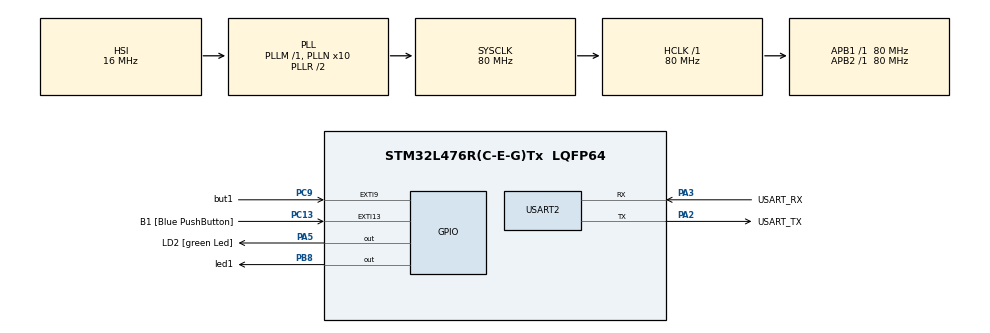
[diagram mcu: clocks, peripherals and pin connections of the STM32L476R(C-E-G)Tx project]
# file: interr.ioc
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Mcu.Family=STM32L4
Mcu.Name=STM32L476R(C-E-G)Tx
Mcu.Package=LQFP64
NVIC.EXTI15_10_IRQn=true\:0\:0\:false\:false\:true\:true\:true\:true
NVIC.EXTI9_5_IRQn=true\:0\:0\:false\:false\:true\:true\:true\:true
NVIC.PriorityGroup=NVIC_PRIORITYGROUP_4
PA13\ (JTMS-SWDIO).GPIO_Label=TMS
PA13\ (JTMS-SWDIO).Mode=Serial_Wire
PA13\ (JTMS-SWDIO).Signal=SYS_JTMS-SWDIO
PA14\ (JTCK-SWCLK).GPIO_Label=TCK
PA14\ (JTCK-SWCLK).Mode=Serial_Wire
PA14\ (JTCK-SWCLK).Signal=SYS_JTCK-SWCLK
PA2.GPIO_Label=USART_TX
PA2.GPIO_Mode=GPIO_MODE_AF_PP
PA2.GPIO_PuPd=GPIO_NOPULL
PA2.GPIO_Speed=GPIO_SPEED_FREQ_VERY_HIGH
PA2.Mode=Asynchronous
PA2.Signal=USART2_TX
PA3.GPIO_Label=USART_RX
PA3.GPIO_Mode=GPIO_MODE_AF_PP
PA3.GPIO_PuPd=GPIO_NOPULL
PA3.GPIO_Speed=GPIO_SPEED_FREQ_VERY_HIGH
PA3.Mode=Asynchronous
PA3.Signal=USART2_RX
PA5.GPIO_Label=LD2 [green Led]
PA5.GPIO_ModeDefaultOutputPP=GPIO_MODE_OUTPUT_PP
PA5.GPIO_PuPd=GPIO_NOPULL
PA5.GPIO_Speed=GPIO_SPEED_FREQ_LOW
PA5.Signal=GPIO_Output
PB3\ (JTDO-TRACESWO).GPIO_Label=SWO
PB3\ (JTDO-TRACESWO).Signal=SYS_JTDO-SWO
PB8.GPIO_Label=led1
PB8.Signal=GPIO_Output
PC13.GPIO_Label=B1 [Blue PushButton]
PC13.GPIO_ModeDefaultEXTI=GPIO_MODE_IT_FALLING
PC13.GPIO_PuPd=GPIO_NOPULL
PC13.Signal=GPXTI13
PC14-OSC32_IN\ (PC14).Mode=LSE-External-Oscillator
PC14-OSC32_IN\ (PC14).Signal=RCC_OSC32_IN
PC15-OSC32_OUT\ (PC15).Mode=LSE-External-Oscillator
PC15-OSC32_OUT\ (PC15).Signal=RCC_OSC32_OUT
PC9.GPIO_Label=but1
PC9.GPIO_ModeDefaultEXTI=GPIO_MODE_IT_FALLING
PC9.GPIO_PuPd=GPIO_PULLUP
PC9.Signal=GPXTI9
PH0-OSC_IN\ (PH0).Signal=RCC_OSC_IN
PH1-OSC_OUT\ (PH1).Signal=RCC_OSC_OUT
ProjectManager.HeapSize=0x200
ProjectManager.StackSize=0x400
ProjectManager.TargetToolchain=STM32CubeIDE
RCC.ADCFreq_Value=64000000
RCC.AHBFreq_Value=80000000
RCC.APB1Freq_Value=80000000
RCC.APB1TimFreq_Value=80000000
RCC.APB2Freq_Value=80000000
RCC.APB2TimFreq_Value=80000000
RCC.CortexFreq_Value=80000000
RCC.HCLKFreq_Value=80000000
RCC.HSE_VALUE=8000000
RCC.HSI_VALUE=16000000
RCC.MSI_VALUE=4000000
RCC.PLLN=10
RCC.PLLSourceVirtual=RCC_PLLSOURCE_HSI
RCC.PREFETCH_ENABLE=1
RCC.SYSCLKFreq_VALUE=80000000
RCC.SYSCLKSource=RCC_SYSCLKSOURCE_PLLCLK
RCC.USBFreq_Value=64000000
RCC.VCOOutputFreq_Value=160000000
USART2.VirtualMode-Asynchronous=VM_ASYNC
board=NUCLEO-L476RG

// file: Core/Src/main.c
/* USER CODE BEGIN Header */
/**
  ******************************************************************************
  * @file           : main.c
  * @brief          : Main program body
  ******************************************************************************
  * @attention
  *
  * Copyright (c) 2024 STMicroelectronics.
  * All rights reserved.
  *
  * This software is licensed under terms that can be found in the LICENSE file
  * in the root directory of this software component.
  * If no LICENSE file comes with this software, it is provided AS-IS.
  *
  ******************************************************************************
  */
/* USER CODE END Header */
#include "main.h"
#include "usart.h"
#include "gpio.h"

void SystemClock_Config(void);

/* USER CODE BEGIN 0 */
volatile uint8_t interState = 0;

/* USER CODE END 0 */

int main(void)
{

  /* MCU Configuration--------------------------------------------------------*/

  /* Reset of all peripherals, Initializes the Flash interface and the Systick. */
  HAL_Init();

  /* Configure the system clock */
  SystemClock_Config();

  /* Initialize all configured peripherals */
  MX_GPIO_Init();
  MX_USART2_UART_Init();

  /* Infinite loop */
  /* USER CODE BEGIN WHILE */
  while (1)
  {
	  if(interState==0){
		  HAL_Delay(100);
		  HAL_GPIO_TogglePin(led1_GPIO_Port, led1_Pin);
		  HAL_Delay(100);
	  }
	  else if(interState==1){
		  HAL_Delay(200);
		  HAL_GPIO_TogglePin(led1_GPIO_Port, led1_Pin);
		  HAL_Delay(200);
	  }
	  else if(interState==2){
		  HAL_Delay(500);
		  HAL_GPIO_TogglePin(led1_GPIO_Port, led1_Pin);
		  HAL_Delay(500);
	  }
	  else if(interState==3){
		  HAL_Delay(1000);
		  HAL_GPIO_TogglePin(led1_GPIO_Port, led1_Pin);
		  HAL_Delay(1000);
	  }
	  else{
		  HAL_Delay(2000);
		  HAL_GPIO_TogglePin(led1_GPIO_Port, led1_Pin);
		  HAL_Delay(2000);
	  }

    /* USER CODE END WHILE */

  }
}

void SystemClock_Config(void)
{
  RCC_OscInitTypeDef RCC_OscInitStruct = {0};
  RCC_ClkInitTypeDef RCC_ClkInitStruct = {0};

  /** Configure the main internal regulator output voltage
  */
  if (HAL_PWREx_ControlVoltageScaling(PWR_REGULATOR_VOLTAGE_SCALE1) != HAL_OK)
  {
    Error_Handler();
  }

  /** Initializes the RCC Oscillators according to the specified parameters
  * in the RCC_OscInitTypeDef structure.
  */
  RCC_OscInitStruct.OscillatorType = RCC_OSCILLATORTYPE_HSI;
  RCC_OscInitStruct.HSIState = RCC_HSI_ON;
  RCC_OscInitStruct.HSICalibrationValue = RCC_HSICALIBRATION_DEFAULT;
  RCC_OscInitStruct.PLL.PLLState = RCC_PLL_ON;
  RCC_OscInitStruct.PLL.PLLSource = RCC_PLLSOURCE_HSI;
  RCC_OscInitStruct.PLL.PLLM = 1;
  RCC_OscInitStruct.PLL.PLLN = 10;
  RCC_OscInitStruct.PLL.PLLP = RCC_PLLP_DIV7;
  RCC_OscInitStruct.PLL.PLLQ = RCC_PLLQ_DIV2;
  RCC_OscInitStruct.PLL.PLLR = RCC_PLLR_DIV2;
  if (HAL_RCC_OscConfig(&RCC_OscInitStruct) != HAL_OK)
  {
    Error_Handler();
  }

  /** Initializes the CPU, AHB and APB buses clocks
  */
  RCC_ClkInitStruct.ClockType = RCC_CLOCKTYPE_HCLK|RCC_CLOCKTYPE_SYSCLK
                              |RCC_CLOCKTYPE_PCLK1|RCC_CLOCKTYPE_PCLK2;
  RCC_ClkInitStruct.SYSCLKSource = RCC_SYSCLKSOURCE_PLLCLK;
  RCC_ClkInitStruct.AHBCLKDivider = RCC_SYSCLK_DIV1;
  RCC_ClkInitStruct.APB1CLKDivider = RCC_HCLK_DIV1;
  RCC_ClkInitStruct.APB2CLKDivider = RCC_HCLK_DIV1;

  if (HAL_RCC_ClockConfig(&RCC_ClkInitStruct, FLASH_LATENCY_4) != HAL_OK)
  {
    Error_Handler();
  }
}

/* USER CODE BEGIN 4 */
void HAL_GPIO_EXTI_Callback(uint16_t GPIO_Pin){

	if(GPIO_Pin==but1_Pin){
		if(interState<=4){
			++interState;
		}else interState=0;
	}
}

/* USER CODE END 4 */

void Error_Handler(void)
{
  __disable_irq();
  while (1)
  {
  }
}
